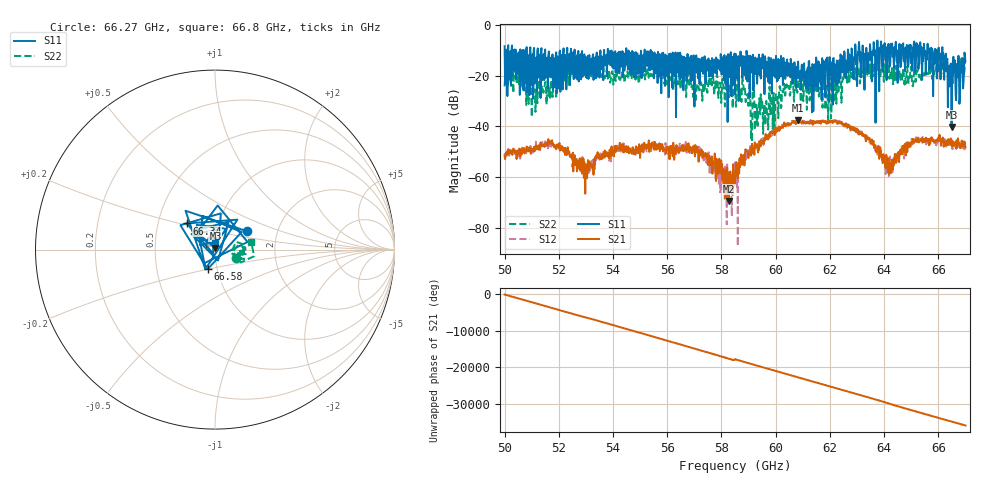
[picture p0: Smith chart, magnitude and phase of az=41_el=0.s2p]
!Created with skrf (http://scikit-rf.org).
# GHz S RI R 50.0
!freq ReS11 ImS11 ReS21 ImS21 ReS12 ImS12 ReS22 ImS22
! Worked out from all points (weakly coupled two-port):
!   1001 points, 50 GHz to 67 GHz, reference 50 ohm
!   highest |S21| = -37.62 dB at 60.83 GHz (marker M1); lowest = -69.5 dB at 58.26 GHz (marker M2)
!   lowest |S11| = -40.3 dB at 66.49 GHz (marker M3), VSWR 1.02, Z = 50.2 + j0.943 ohm
!   |S11| at or under -10 dB: 52.58 GHz to 53.67 GHz (1.087 GHz wide, 2.05 % of centre); 55.39 GHz to 62.66 GHz (7.275 GHz wide, 12.3 % of centre); 66.16 GHz to end of sweep (the widest 3 of 60)
!   |S22| runs from -48.3 to -13.1 dB; largest |S21 - S12| = 0.0021
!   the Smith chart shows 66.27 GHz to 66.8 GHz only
!   S11 on the Smith chart (normalised r, x): 66.27 GHz: 1.40, +0.30; 66.34 GHz: 0.70, +0.21; 66.58 GHz: 0.90, -0.20; 66.8 GHz: 1.00, +0.07
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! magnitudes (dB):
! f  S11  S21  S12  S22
! 50 GHz  -8.4  -51.6  -50.6  -24.3
! 51.7 GHz  -16.5  -46.3  -47.2  -23.5
! 52.84 GHz  -12.5  -55.3  -55.1  -19.4
! 54.32 GHz  -15.1  -48.8  -48.5  -19.6
! 55.68 GHz  -13.4  -47.3  -48.1  -21.2
! 57.04 GHz  -16.1  -47.4  -48.9  -29.7
! 58.26 GHz  -11.7  -69.5  -61.7  -24.3
! 58.5 GHz  -27.3  -59.3  -54.2  -24.2
! 59.62 GHz  -13.4  -43.4  -43.9  -39.5
! 60.34 GHz  -14.7  -39.8  -39.1  -24.7
! 60.83 GHz  -14.4  -37.6  -38.1  -23.2
! 61.34 GHz  -34.5  -38.0  -38.4  -27.3
! 62 GHz  -12.9  -37.9  -37.6  -23.9
! 62.87 GHz  -21.3  -41.6  -41.7  -19.0
! 64.18 GHz  -12.1  -59.1  -59.6  -17.2
! 65.1 GHz  -7.4  -45.5  -46.7  -19.7
! 66.27 GHz  -13.7  -46.4  -45.9  -18.1
! 66.34 GHz  -13.4  -45.9  -45.3  -17.2
! 66.49 GHz  -40.3  -45.4  -46.0  -15.2
! 66.58 GHz  -18.7  -46.8  -46.3  -15.8
! 66.8 GHz  -29.4  -48.5  -46.7  -13.7
! 67 GHz  -14.3  -48.4  -48.8  -14.4
